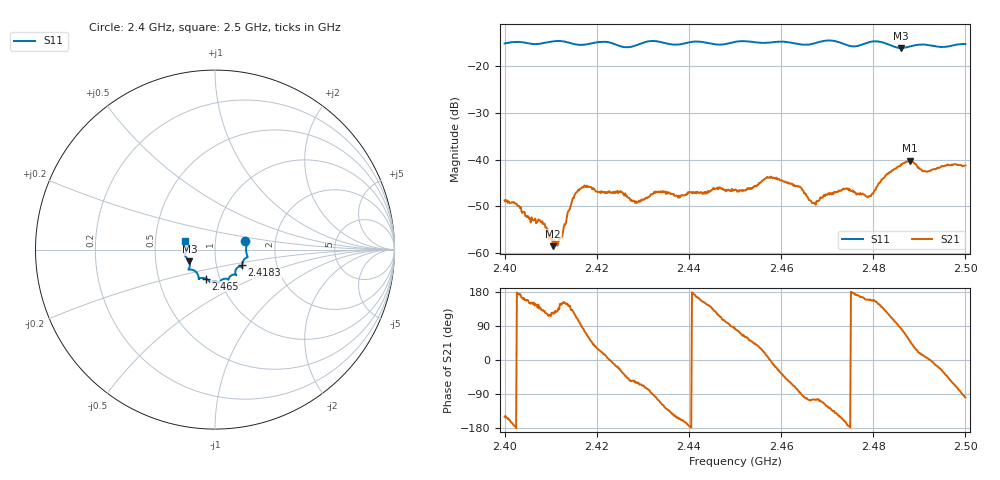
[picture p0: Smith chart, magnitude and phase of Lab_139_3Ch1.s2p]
# Hz S RI R 50
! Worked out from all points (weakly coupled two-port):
!   601 points, 2.4 GHz to 2.5 GHz, reference 50 ohm
!   highest |S21| = -40.24 dB at 2.488 GHz (marker M1); lowest = -58.5 dB at 2.4105 GHz (marker M2)
!   lowest |S11| = -16.1 dB at 2.486 GHz (marker M3), VSWR 1.37, Z = 37.2 - j4.98 ohm
!   |S11| at or under -10 dB: start of sweep to end of sweep
!   S12 and S22 are empty: the file has one direction only
!   S11 on the Smith chart (normalised r, x): 2.4 GHz: 1.40, +0.14; 2.4183 GHz: 1.33, -0.24; 2.465 GHz: 0.86, -0.28; 2.5 GHz: 0.71, +0.07
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2.4e9  0.1689 0.047  -0.00319 -0.00183  0 0  0 0
2.408167e9  0.175 -0.0176  -0.00145 0.00165  0 0  0 0
2.4105e9  0.181 -0.0364  -0.00063 0.00101  0 0  0 0
2.412e9  0.182 -0.0407  -0.00121 0.000772  0 0  0 0
2.415e9  0.1652 -0.0519  -0.00222 0.00316  0 0  0 0
2.416667e9  0.1549 -0.0682  -4.88e-05 0.00497  0 0  0 0
2.418333e9  0.1502 -0.0871  0.00278 0.00431  0 0  0 0
2.425333e9  0.1308 -0.0964  0.0039 -0.00223  0 0  0 0
2.4285e9  0.1128 -0.1236  0.00178 -0.00312  0 0  0 0
2.433333e9  0.1176 -0.141  -0.00123 -0.00438  0 0  0 0
2.437833e9  0.084 -0.1488  -0.00376 -0.00169  0 0  0 0
2.45e9  0.0264 -0.1802  0.000744 0.00471  0 0  0 0
2.4575e9  -0.0137 -0.1786  0.00649 9.89e-05  0 0  0 0
2.465e9  -0.0523 -0.1614  -0.00055 -0.00431  0 0  0 0
2.466667e9  -0.0712 -0.1576  -0.000866 -0.00335  0 0  0 0
2.474e9  -0.0944 -0.142  -0.00473 -0.00132  0 0  0 0
2.479e9  -0.1423 -0.111  -0.00378 0.00147  0 0  0 0
2.483333e9  -0.1411 -0.0963  -0.00361 0.0061  0 0  0 0
2.486e9  -0.1425 -0.0652  0.000974 0.00884  0 0  0 0
2.488e9  -0.1562 -0.0467  0.00636 0.00736  0 0  0 0
2.491167e9  -0.1671 -0.0333  0.00747 0.00121  0 0  0 0
2.5e9  -0.1663 0.047  -0.00136 -0.00855  0 0  0 0
